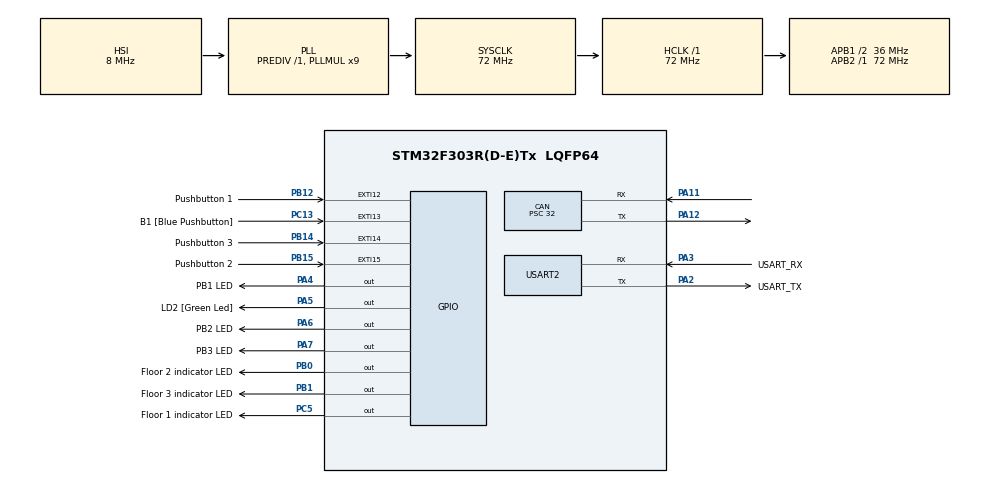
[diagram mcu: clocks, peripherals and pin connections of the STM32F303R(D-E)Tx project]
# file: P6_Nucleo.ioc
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CAN.BS1=CAN_BS1_4TQ
CAN.BS2=CAN_BS2_4TQ
CAN.CalculateBaudRate=125000
CAN.CalculateTimeBit=8000
CAN.CalculateTimeQuantum=888.8888888888889
CAN.Prescaler=32
Mcu.Family=STM32F3
Mcu.Name=STM32F303R(D-E)Tx
Mcu.Package=LQFP64
NVIC.EXTI15_10_IRQn=true\:0\:0\:false\:false\:true\:true\:true\:true
NVIC.PriorityGroup=NVIC_PRIORITYGROUP_0
NVIC.USB_LP_CAN_RX0_IRQn=true\:0\:0\:false\:false\:true\:true\:true\:true
PA11.Mode=CAN_Activate
PA11.Signal=CAN_RX
PA12.Mode=CAN_Activate
PA12.Signal=CAN_TX
PA13.GPIO_Label=TMS
PA13.Mode=Serial_Wire
PA13.Signal=SYS_JTMS-SWDIO
PA14.GPIO_Label=TCK
PA14.Mode=Serial_Wire
PA14.Signal=SYS_JTCK-SWCLK
PA2.GPIO_Label=USART_TX
PA2.GPIO_Mode=GPIO_MODE_AF_PP
PA2.GPIO_PuPd=GPIO_NOPULL
PA2.GPIO_Speed=GPIO_SPEED_FREQ_LOW
PA2.Mode=Asynchronous
PA2.Signal=USART2_TX
PA3.GPIO_Label=USART_RX
PA3.GPIO_Mode=GPIO_MODE_AF_PP
PA3.GPIO_PuPd=GPIO_NOPULL
PA3.GPIO_Speed=GPIO_SPEED_FREQ_LOW
PA3.Mode=Asynchronous
PA3.Signal=USART2_RX
PA4.GPIO_Label=PB1 LED
PA4.Signal=GPIO_Output
PA5.GPIO_Label=LD2 [Green Led]
PA5.GPIO_Mode=GPIO_MODE_OUTPUT_PP
PA5.GPIO_PuPd=GPIO_NOPULL
PA5.GPIO_Speed=GPIO_SPEED_FREQ_LOW
PA5.Signal=GPIO_Output
PA6.GPIO_Label=PB2 LED
PA6.Signal=GPIO_Output
PA7.GPIO_Label=PB3 LED
PA7.Signal=GPIO_Output
PB0.GPIO_Label=Floor 2 indicator LED
PB0.Signal=GPIO_Output
PB1.GPIO_Label=Floor 3 indicator LED
PB1.Signal=GPIO_Output
PB12.GPIO_Label=Pushbutton 1
PB12.GPIO_ModeDefaultEXTI=GPIO_MODE_IT_FALLING
PB12.Signal=GPXTI12
PB14.GPIO_Label=Pushbutton 3
PB14.GPIO_ModeDefaultEXTI=GPIO_MODE_IT_FALLING
PB14.Signal=GPXTI14
PB15.GPIO_Label=Pushbutton 2
PB15.GPIO_ModeDefaultEXTI=GPIO_MODE_IT_FALLING
PB15.Signal=GPXTI15
PB3.GPIO_Label=SWO
PB3.Signal=SYS_JTDO-TRACESWO
PC13.GPIO_Label=B1 [Blue Pushbutton]
PC13.Signal=GPXTI13
PC14-OSC32_IN.Mode=LSE-External-Oscillator
PC14-OSC32_IN.Signal=RCC_OSC32_IN
PC15-OSC32_OUT.Mode=LSE-External-Oscillator
PC15-OSC32_OUT.Signal=RCC_OSC32_OUT
PC5.GPIO_Label=Floor 1 indicator LED
PC5.Signal=GPIO_Output
PF0-OSC_IN.Mode=HSE-External-Clock-Source
PF0-OSC_IN.Signal=RCC_OSC_IN
PF1-OSC_OUT.Signal=RCC_OSC_OUT
ProjectManager.HeapSize=0x200
ProjectManager.StackSize=0x400
ProjectManager.TargetToolchain=STM32CubeIDE
RCC.AHBFreq_Value=72000000
RCC.APB1CLKDivider=RCC_HCLK_DIV2
RCC.APB1Freq_Value=36000000
RCC.APB1TimFreq_Value=72000000
RCC.APB2Freq_Value=72000000
RCC.APB2TimFreq_Value=72000000
RCC.CortexFreq_Value=72000000
RCC.HCLKFreq_Value=72000000
RCC.HSE_VALUE=8000000
RCC.HSI_VALUE=8000000
RCC.PLLM=8
RCC.PLLMUL=RCC_PLL_MUL9
RCC.PLLN=336
RCC.PLLP=RCC_PLLP_DIV4
RCC.PLLQ=7
RCC.RCC_PLLsource_Clock_Source_FROM_HSE=RCC_HSE_PREDIV_DIV2
RCC.SYSCLKFreq_VALUE=72000000
RCC.SYSCLKSourceVirtual=RCC_SYSCLKSOURCE_PLLCLK
RCC.USBFreq_Value=72000000
USART2.VirtualMode-Asynchronous=VM_ASYNC
board=NUCLEO-F303RE

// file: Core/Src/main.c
/* USER CODE BEGIN Header */
/**
  ******************************************************************************
  * @file           : main.c
  * @brief          : Main program body
  ******************************************************************************
  * @attention
  *
  * Copyright (c) 2024 STMicroelectronics.
  * All rights reserved.
  *
  * This software is licensed under terms that can be found in the LICENSE file
  * in the root directory of this software component.
  * If no LICENSE file comes with this software, it is provided AS-IS.
  *
  ******************************************************************************
  */
/* USER CODE END Header */
#include "main.h"

/* USER CODE BEGIN PD */
#define ID					0x0202		// ID of supervisory controller - change this depending on floor node is on
#define GO_TO_FLOOR_1		0x05		// Floor 1
#define GO_TO_FLOOR_2		0x06		// Floor 2
#define GO_TO_FLOOR_3		0x07		// Floor 3
//#define NO_BUTTON_PRESSED	0			// Default value of the BUTTON flag - no button has been pressed#define BLUE_BUTTON_PRESSED	1			// Default value of the BUTTON flag when blue button is pressed (later can add other buttons)
#define AT_FLOOR_1			0x05
#define AT_FLOOR_2			0x06
#define AT_FLOOR_3			0x07
/* USER CODE END PD */

CAN_HandleTypeDef hcan;

UART_HandleTypeDef huart2;

/* USER CODE BEGIN PV */
CAN_TxHeaderTypeDef		TxHeader;		// TxHeader is a variable of type CAN_TxHeaaderTypeDef
CAN_RxHeaderTypeDef		RxHeader;
uint8_t					TxData[8];		// 8 bytes of data per frame
uint8_t					RxData[8];
uint32_t				TxMailbox;
uint8_t msg;			// Initial message is GO_TO_FLOOR_1
//uint8_t BUTTON = NO_BUTTON_PRESSED;		// Initial value is that no BUTTON has been pressed
uint8_t i;								// For loop variable

/* USER CODE END PV */

void SystemClock_Config(void);
static void MX_GPIO_Init(void);
static void MX_USART2_UART_Init(void);
static void MX_CAN_Init(void);

int main(void)
{

  /* MCU Configuration--------------------------------------------------------*/

  /* Reset of all peripherals, Initializes the Flash interface and the Systick. */
  HAL_Init();

  /* Configure the system clock */
  SystemClock_Config();

  /* Initialize all configured peripherals */
  MX_GPIO_Init();
  MX_USART2_UART_Init();
  MX_CAN_Init();

  /* Infinite loop */
    while (1) {

    /* USER CODE BEGIN 3 */
    	if (RxData[0] != 0) {

			HAL_GPIO_WritePin(Floor_1_indicator_LED_GPIO_Port, Floor_1_indicator_LED_Pin, GPIO_PIN_RESET);
			HAL_GPIO_WritePin(Floor_2_indicator_LED_GPIO_Port, Floor_2_indicator_LED_Pin, GPIO_PIN_RESET);
			HAL_GPIO_WritePin(Floor_3_indicator_LED_GPIO_Port, Floor_3_indicator_LED_Pin, GPIO_PIN_RESET);

			switch (RxData[0]){
				case AT_FLOOR_1:
					HAL_GPIO_WritePin(Floor_1_indicator_LED_GPIO_Port, Floor_1_indicator_LED_Pin, GPIO_PIN_SET);
					HAL_GPIO_WritePin(PB1_LED_GPIO_Port, PB1_LED_Pin, GPIO_PIN_RESET);
					break;
				case AT_FLOOR_2:
					HAL_GPIO_WritePin(Floor_2_indicator_LED_GPIO_Port, Floor_2_indicator_LED_Pin, GPIO_PIN_SET);
					HAL_GPIO_WritePin(PB2_LED_GPIO_Port, PB2_LED_Pin, GPIO_PIN_RESET);
					break;
				case AT_FLOOR_3:
					HAL_GPIO_WritePin(Floor_3_indicator_LED_GPIO_Port, Floor_3_indicator_LED_Pin, GPIO_PIN_SET);
					HAL_GPIO_WritePin(PB3_LED_GPIO_Port, PB3_LED_Pin, GPIO_PIN_RESET);
					break;
			}
			// Keep LED on for 2 seconds
			for (i=0; i<8; i++) {
				RxData[i] = 0x00;																	// Reset the RxData[] buffer (used as flag)
			}																// Need a delay after toggle

    	}
    }
  /* USER CODE END 3 */
}

void SystemClock_Config(void)
{
  RCC_OscInitTypeDef RCC_OscInitStruct = {0};
  RCC_ClkInitTypeDef RCC_ClkInitStruct = {0};
  RCC_PeriphCLKInitTypeDef PeriphClkInit = {0};

  /** Initializes the RCC Oscillators according to the specified parameters
  * in the RCC_OscInitTypeDef structure.
  */
  RCC_OscInitStruct.OscillatorType = RCC_OSCILLATORTYPE_HSI;
  RCC_OscInitStruct.HSIState = RCC_HSI_ON;
  RCC_OscInitStruct.HSICalibrationValue = RCC_HSICALIBRATION_DEFAULT;
  RCC_OscInitStruct.PLL.PLLState = RCC_PLL_ON;
  RCC_OscInitStruct.PLL.PLLSource = RCC_PLLSOURCE_HSI;
  RCC_OscInitStruct.PLL.PLLMUL = RCC_PLL_MUL9;
  RCC_OscInitStruct.PLL.PREDIV = RCC_PREDIV_DIV1;
  if (HAL_RCC_OscConfig(&RCC_OscInitStruct) != HAL_OK)
  {
    Error_Handler();
  }

  /** Initializes the CPU, AHB and APB buses clocks
  */
  RCC_ClkInitStruct.ClockType = RCC_CLOCKTYPE_HCLK|RCC_CLOCKTYPE_SYSCLK
                              |RCC_CLOCKTYPE_PCLK1|RCC_CLOCKTYPE_PCLK2;
  RCC_ClkInitStruct.SYSCLKSource = RCC_SYSCLKSOURCE_PLLCLK;
  RCC_ClkInitStruct.AHBCLKDivider = RCC_SYSCLK_DIV1;
  RCC_ClkInitStruct.APB1CLKDivider = RCC_HCLK_DIV2;
  RCC_ClkInitStruct.APB2CLKDivider = RCC_HCLK_DIV1;

  if (HAL_RCC_ClockConfig(&RCC_ClkInitStruct, FLASH_LATENCY_2) != HAL_OK)
  {
    Error_Handler();
  }
  PeriphClkInit.PeriphClockSelection = RCC_PERIPHCLK_USART2;
  PeriphClkInit.Usart2ClockSelection = RCC_USART2CLKSOURCE_PCLK1;
  if (HAL_RCCEx_PeriphCLKConfig(&PeriphClkInit) != HAL_OK)
  {
    Error_Handler();
  }
}

static void MX_CAN_Init(void)
{

  hcan.Instance = CAN;
  hcan.Init.Prescaler = 32;
  hcan.Init.Mode = CAN_MODE_NORMAL;
  hcan.Init.SyncJumpWidth = CAN_SJW_1TQ;
  hcan.Init.TimeSeg1 = CAN_BS1_4TQ;
  hcan.Init.TimeSeg2 = CAN_BS2_4TQ;
  hcan.Init.TimeTriggeredMode = DISABLE;
  hcan.Init.AutoBusOff = DISABLE;
  hcan.Init.AutoWakeUp = DISABLE;
  hcan.Init.AutoRetransmission = DISABLE;
  hcan.Init.ReceiveFifoLocked = DISABLE;
  hcan.Init.TransmitFifoPriority = DISABLE;
  if (HAL_CAN_Init(&hcan) != HAL_OK)
  {
    Error_Handler();
  }
  /* USER CODE BEGIN CAN_Init 2 */
  CAN_FilterTypeDef filter;  							// This is one of the 13 filters - can create more filters - this one will be number 0

	/* Configure filter 0 to direct everything to FIFO 0 */
	filter.FilterBank = 0;							// This is filter number 0
	filter.FilterIdHigh = 0x0100 << 5;      			// Set FilterIdHigh bits by choosing an ID and aligning the bits in the filter register with the receive register by shifting << 5  (See Second lecture in CAN series - last few slides)
	filter.FilterIdLow = 0x0000;						// Not using FilterIdLow bits (set as don't care)
	filter.FilterMaskIdHigh = 0xFFE <<5;				// Same as example in lecture (this gives a range of ID's that will be accepted of between 0x100 and 0x103). Must also align the bits in the Mask register with those in the receive register.
	filter.FilterMaskIdLow = 0x0000;					// Not using FilterMaskLow bits (set as don't care)
	filter.FilterFIFOAssignment = CAN_FILTER_FIFO0;
	filter.FilterMode = CAN_FILTERMODE_IDMASK; 		// uses mask mode (so can set range of IDs)
	filter.FilterScale = CAN_FILTERSCALE_32BIT;		// Use 32 bit filters (doesn't really matter if we use 16 or 32 bit since we are using mask)
	filter.FilterActivation = ENABLE;					// By default the filters are disabled so enable them
	filter.SlaveStartFilterBank = 0;

	if(HAL_CAN_ConfigFilter(&hcan, &filter) != HAL_OK) {	// Set the above values for filter 0
	Error_Handler();
	}

	/* *** Start the CAN peripheral *** */
	if (HAL_CAN_Start(&hcan) != HAL_OK) {
	  Error_Handler();
	}

	/* *** Activate CAN Rx notification interrupt *** */
	if (HAL_CAN_ActivateNotification(&hcan, CAN_IT_RX_FIFO0_MSG_PENDING) != HAL_OK) {
	  Error_Handler();
	}

	TxHeader.IDE = CAN_ID_STD;		 				// Using standard mode. Note this = CAN_ID_EXT for extended mode
	TxHeader.ExtId = 0x00;			 				// Extended ID is not used
	TxHeader.StdId = ID;	 		 					// Standard mode ID is 0x100 -- CHANGE THIS LATER ---
	TxHeader.RTR = CAN_RTR_DATA;	 					// Send a data frame not an RTR
	TxHeader.DLC = 1;				 					// Data length code = 1 (only send one byte)
	TxHeader.TransmitGlobalTime = DISABLE;
  /* USER CODE END CAN_Init 2 */

}

static void MX_USART2_UART_Init(void)
{

  huart2.Instance = USART2;
  huart2.Init.BaudRate = 38400;
  huart2.Init.WordLength = UART_WORDLENGTH_8B;
  huart2.Init.StopBits = UART_STOPBITS_1;
  huart2.Init.Parity = UART_PARITY_NONE;
  huart2.Init.Mode = UART_MODE_TX_RX;
  huart2.Init.HwFlowCtl = UART_HWCONTROL_NONE;
  huart2.Init.OverSampling = UART_OVERSAMPLING_16;
  huart2.Init.OneBitSampling = UART_ONE_BIT_SAMPLE_DISABLE;
  huart2.AdvancedInit.AdvFeatureInit = UART_ADVFEATURE_NO_INIT;
  if (HAL_UART_Init(&huart2) != HAL_OK)
  {
    Error_Handler();
  }

}

static void MX_GPIO_Init(void)
{
  GPIO_InitTypeDef GPIO_InitStruct = {0};

  /* GPIO Ports Clock Enable */
  __HAL_RCC_GPIOC_CLK_ENABLE();
  __HAL_RCC_GPIOF_CLK_ENABLE();
  __HAL_RCC_GPIOA_CLK_ENABLE();
  __HAL_RCC_GPIOB_CLK_ENABLE();

  /*Configure GPIO pin Output Level */
  HAL_GPIO_WritePin(GPIOA, PB1_LED_Pin|LD2_Pin|PB2_LED_Pin|PB3_LED_Pin, GPIO_PIN_RESET);

  /*Configure GPIO pin Output Level */
  HAL_GPIO_WritePin(Floor_1_indicator_LED_GPIO_Port, Floor_1_indicator_LED_Pin, GPIO_PIN_RESET);

  /*Configure GPIO pin Output Level */
  HAL_GPIO_WritePin(GPIOB, Floor_2_indicator_LED_Pin|Floor_3_indicator_LED_Pin, GPIO_PIN_RESET);

  /*Configure GPIO pin : B1_Pin */
  GPIO_InitStruct.Pin = B1_Pin;
  GPIO_InitStruct.Mode = GPIO_MODE_IT_RISING;
  GPIO_InitStruct.Pull = GPIO_NOPULL;
  HAL_GPIO_Init(B1_GPIO_Port, &GPIO_InitStruct);

  /*Configure GPIO pins : PB1_LED_Pin LD2_Pin PB2_LED_Pin PB3_LED_Pin */
  GPIO_InitStruct.Pin = PB1_LED_Pin|LD2_Pin|PB2_LED_Pin|PB3_LED_Pin;
  GPIO_InitStruct.Mode = GPIO_MODE_OUTPUT_PP;
  GPIO_InitStruct.Pull = GPIO_NOPULL;
  GPIO_InitStruct.Speed = GPIO_SPEED_FREQ_LOW;
  HAL_GPIO_Init(GPIOA, &GPIO_InitStruct);

  /*Configure GPIO pin : Floor_1_indicator_LED_Pin */
  GPIO_InitStruct.Pin = Floor_1_indicator_LED_Pin;
  GPIO_InitStruct.Mode = GPIO_MODE_OUTPUT_PP;
  GPIO_InitStruct.Pull = GPIO_NOPULL;
  GPIO_InitStruct.Speed = GPIO_SPEED_FREQ_LOW;
  HAL_GPIO_Init(Floor_1_indicator_LED_GPIO_Port, &GPIO_InitStruct);

  /*Configure GPIO pins : Floor_2_indicator_LED_Pin Floor_3_indicator_LED_Pin */
  GPIO_InitStruct.Pin = Floor_2_indicator_LED_Pin|Floor_3_indicator_LED_Pin;
  GPIO_InitStruct.Mode = GPIO_MODE_OUTPUT_PP;
  GPIO_InitStruct.Pull = GPIO_NOPULL;
  GPIO_InitStruct.Speed = GPIO_SPEED_FREQ_LOW;
  HAL_GPIO_Init(GPIOB, &GPIO_InitStruct);

  /*Configure GPIO pins : Pushbutton_1_Pin Pushbutton_3_Pin Pushbutton_2_Pin */
  GPIO_InitStruct.Pin = Pushbutton_1_Pin|Pushbutton_3_Pin|Pushbutton_2_Pin;
  GPIO_InitStruct.Mode = GPIO_MODE_IT_FALLING;
  GPIO_InitStruct.Pull = GPIO_NOPULL;
  HAL_GPIO_Init(GPIOB, &GPIO_InitStruct);

  /* EXTI interrupt init*/
  HAL_NVIC_SetPriority(EXTI15_10_IRQn, 0, 0);
  HAL_NVIC_EnableIRQ(EXTI15_10_IRQn);

}

/* USER CODE BEGIN 4 */
void HAL_CAN_RxFifo0MsgPendingCallback(CAN_HandleTypeDef *hcan)
{
	/* Get RX message and store in RxData[] buffer */
	  if (HAL_CAN_GetRxMessage(hcan, CAN_RX_FIFO0, &RxHeader, RxData) != HAL_OK)
	  {
	    /* Reception Error */
	    Error_Handler();
	  }
}

void HAL_GPIO_EXTI_Callback(uint16_t GPIO_Pin)
{
   //Set the BUTTON Flag to indicate which button was pressed
  if (GPIO_Pin == Pushbutton_1_Pin) {					// GPIO pin 13 is the blue push button{
	  HAL_GPIO_WritePin(PB1_LED_GPIO_Port, PB1_LED_Pin, GPIO_PIN_SET);
	  TxData[0] = GO_TO_FLOOR_1;								// Blue button pressed
  }
  else if (GPIO_Pin == Pushbutton_2_Pin){
	  HAL_GPIO_WritePin(PB2_LED_GPIO_Port, PB2_LED_Pin, GPIO_PIN_SET);
	  TxData[0] = GO_TO_FLOOR_2;
  }
  else if (GPIO_Pin == Pushbutton_3_Pin){
	  HAL_GPIO_WritePin(PB3_LED_GPIO_Port, PB3_LED_Pin, GPIO_PIN_SET);
	  TxData[0] = GO_TO_FLOOR_3;
  }
  else if (GPIO_Pin == B1_Pin){
	  TxData[0] = GO_TO_FLOOR_1;
	  HAL_GPIO_TogglePin(LD2_GPIO_Port,LD2_Pin);
  }

  if (HAL_CAN_AddTxMessage(&hcan, &TxHeader, TxData, &TxMailbox) != HAL_OK) {	// Transmit the message
	  Error_Handler();															// Transmission error
  }

}
/* USER CODE END 4 */

void Error_Handler(void)
{
  __disable_irq();
  while (1)
  {
  }
}
